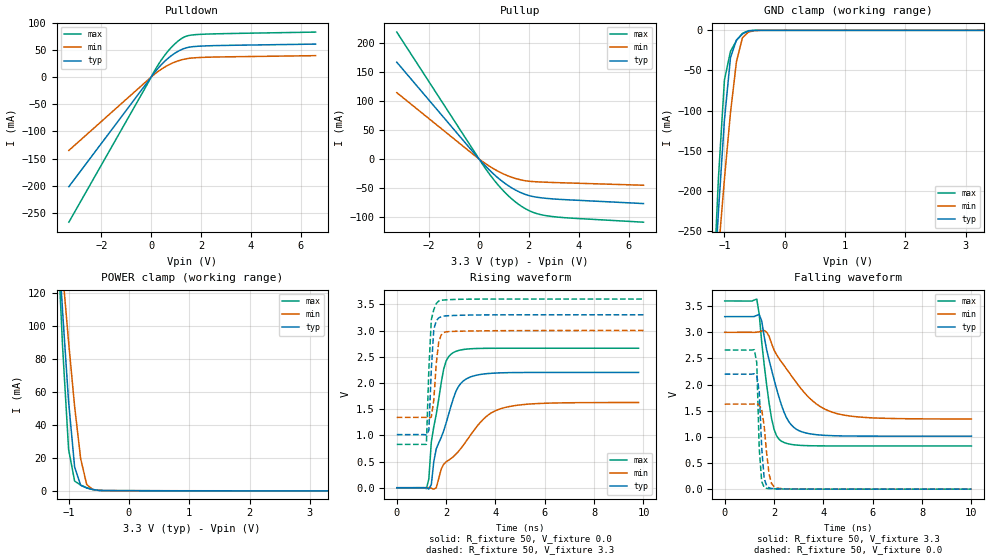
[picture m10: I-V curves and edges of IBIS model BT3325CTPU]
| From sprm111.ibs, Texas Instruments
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[Model]   BT3325CTPU
Model_type   I/O
Vinh = 2.00
Vinl = 0.80
Enable   Active-Low
Polarity   Non-Inverting
| signals   A, GZ, Y
Vmeas = 1.5
|   typ   min   max
C_comp   1.6130p   1.5354p   1.7989p
|   typ   min   max
[Temperature Range]   25   -40   125
|   typ   min   max
[Voltage Range]   3.30V   3.00V   3.60V
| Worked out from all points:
|   slope of the pulldown table from 0 to 0.495 V, typ, clamps not added: 18.4 ohm
|   slope of the pullup table from 0 to 0.495 V, typ, clamps not added: 22.1 ohm
|   GND clamp passes 1 mA (typ) near -0.60 V on its own axis
|   POWER clamp passes 1 mA (typ) near -0.63 V on its own axis
|   rising waveform, R_fixture 50, V_fixture 0.0: 20-80 % time 850ps typ, 1.71ns min, 498ps max; typ from 0 V to 2.2 V
|   falling waveform, R_fixture 50, V_fixture 3.3: 20-80 % time 776ps typ, 1.6ns min, 434ps max; typ from 3.3 V to 1.01 V
|   rising waveform, R_fixture 50, V_fixture 3.3: 20-80 % time 144ps typ, 173ps min, 144ps max; typ from 1.01 V to 3.3 V
|   falling waveform, R_fixture 50, V_fixture 0.0: 20-80 % time 150ps typ, 219ps min, 121ps max; typ from 2.2 V to 0 V
[Pulldown]
|   Voltage   I(typ)   I(min)   I(max)
-3.3V     -201.5mA   -134.9mA   -267mA
200mV     11.94mA    7.607mA    16.41mA
600mV     31.43mA    19.94mA    43.44mA
800mV     39.06mA    24.71mA    54.18mA
1.1V      47.98mA    30.18mA    66.99mA
1.4V      53.8mA     33.69mA    75.19mA
1.9V      56.88mA    36.01mA    78.53mA
6.6V      60.8mA     39.52mA    82.88mA
[GND_clamp]
|   Voltage   I(typ)   I(min)   I(max)
-3.3V     -3.363A    -2.538A    -4.365A
-1.2V     -355.3mA   -371.5mA   -350.3mA
-1.1V     -227mA     -276.5mA   -185.2mA
-1V       -111.9mA   -185.7mA   -62.03mA
-900mV    -34.23mA   -103.1mA   -26.3mA
-800mV    -12.03mA   -38.76mA   -12.65mA
-700mV    -4.384mA   -9.073mA   -3.684mA
-600mV    -848.8uA   -2.124mA   -417.4uA
-400mV    -4.328uA   -46.41uA   -434.3nA
3.3V      133.2pA    2.083uA    88.82pA
[Pullup]
|   Voltage   I(typ)   I(min)   I(max)
-3.3V     167.1mA    114.5mA    219.1mA
-200mV    10mA       6.709mA    13.35mA
300mV     -14.08mA   -9.224mA   -19.1mA
600mV     -26.64mA   -17.31mA   -36.28mA
900mV     -37.6mA    -24.2mA    -51.46mA
1.2V      -46.92mA   -29.85mA   -64.58mA
1.5V      -54.52mA   -34.2mA    -75.59mA
1.8V      -60.33mA   -37.21mA   -84.42mA
2.1V      -64.3mA    -38.87mA   -91.01mA
2.7V      -68.04mA   -40.24mA   -98mA
3.6V      -70.63mA   -41.51mA   -101.9mA
6.6V      -77.05mA   -45.41mA   -109.2mA
[POWER_clamp]
|   Voltage   I(typ)   I(min)   I(max)
-3.3V     1.577A     1.192A     2.045A
-1.2V     169.8mA    177.9mA    166.6mA
-1.1V     109.3mA    133.3mA    87.93mA
-1V       54.23mA    90.47mA    25.1mA
-900mV    14.35mA    51.17mA    5.826mA
-800mV    3.269mA    19.53mA    3.421mA
-700mV    1.617mA    3.736mA    1.806mA
-600mV    705uA      738uA      676uA
-500mV    198.5uA    185uA      148.6uA
3.3V      -108.3uA   -67.78uA   -162.1uA
[Ramp]
|   I(typ)   I(min)   I(max)
dV/dt_r   1.320/0.848n   0.976/1.713n   1.597/0.501n
dV/dt_f   1.372/0.780n   0.995/1.604n   1.664/0.436n
[Rising Waveform]
R_fixture = 50
V_fixture = 0.0
|  pu_on
|  TIME   V(typ)   V(min)   V(max)
0s        2nV        12nV       1nV
1.2ns     2.158mV    1.088mV    -18.73mV
1.3ns     -25.42mV   1.599mV    167.8mV
1.4ns     61.15mV    -9.154mV   873mV
1.6ns     742.8mV    -1.416mV   1.4V
1.9ns     1.084V     447mV      2.262V
2.3ns     1.713V     595.2mV    2.581V
2.9ns     2.097V     945.4mV    2.649V
4.3ns     2.193V     1.52V      2.662V
9.8ns     2.2V       1.626V     2.662V
[Falling Waveform]
R_fixture = 50
V_fixture = 3.3
V_fixture_min = 3.0
V_fixture_max = 3.6
|  pd_on
|  TIME   V(typ)   V(min)   V(max)
0s        3.3V       3V         3.6V
1.3ns     3.323V     3.002V     3.636V
1.4ns     3.339V     3.011V     3.342V
1.5ns     3.218V     3.025V     2.812V
1.9ns     2.282V     2.788V     1.351V
2.1ns     1.924V     2.573V     1.022V
2.3ns     1.61V      2.434V     917.4mV
2.9ns     1.147V     2.041V     843.7mV
4.4ns     1.022V     1.466V     826.9mV
10ns      1.014V     1.342V     826.4mV
[Rising Waveform]
R_fixture = 50
V_fixture = 3.3
V_fixture_min = 3.0
V_fixture_max = 3.6
|  pd_off
|  TIME   V(typ)   V(min)   V(max)
0s        1.014V     1.342V     826.4mV
1.2ns     1.007V     1.343V     827.5mV
1.3ns     1.093V     1.327V     2.256V
1.4ns     2.263V     1.349V     3.205V
1.5ns     3.021V     1.672V     3.399V
1.6ns     3.184V     2.37V      3.514V
1.7ns     3.241V     2.78V      3.563V
1.8ns     3.263V     2.915V     3.577V
2.1ns     3.283V     2.979V     3.588V
10ns      3.3V       3V         3.6V
[Falling Waveform]
R_fixture = 50
V_fixture = 0.0
|  pu_off
|  TIME   V(typ)   V(min)   V(max)
0s        2.2V       1.626V     2.662V
1.2ns     2.206V     1.629V     2.668V
1.3ns     2.178V     1.634V     2.417V
1.4ns     1.865V     1.612V     776.1mV
1.5ns     790.3mV    1.521V     148.3mV
1.6ns     204.7mV    1.209V     34.11mV
1.8ns     25.83mV    284.1mV    9.318mV
1.9ns     13.52mV    107.3mV    7.243mV
2.1ns     7.395mV    23.98mV    4.838mV
10ns      516nV      6.549uV    492nV
